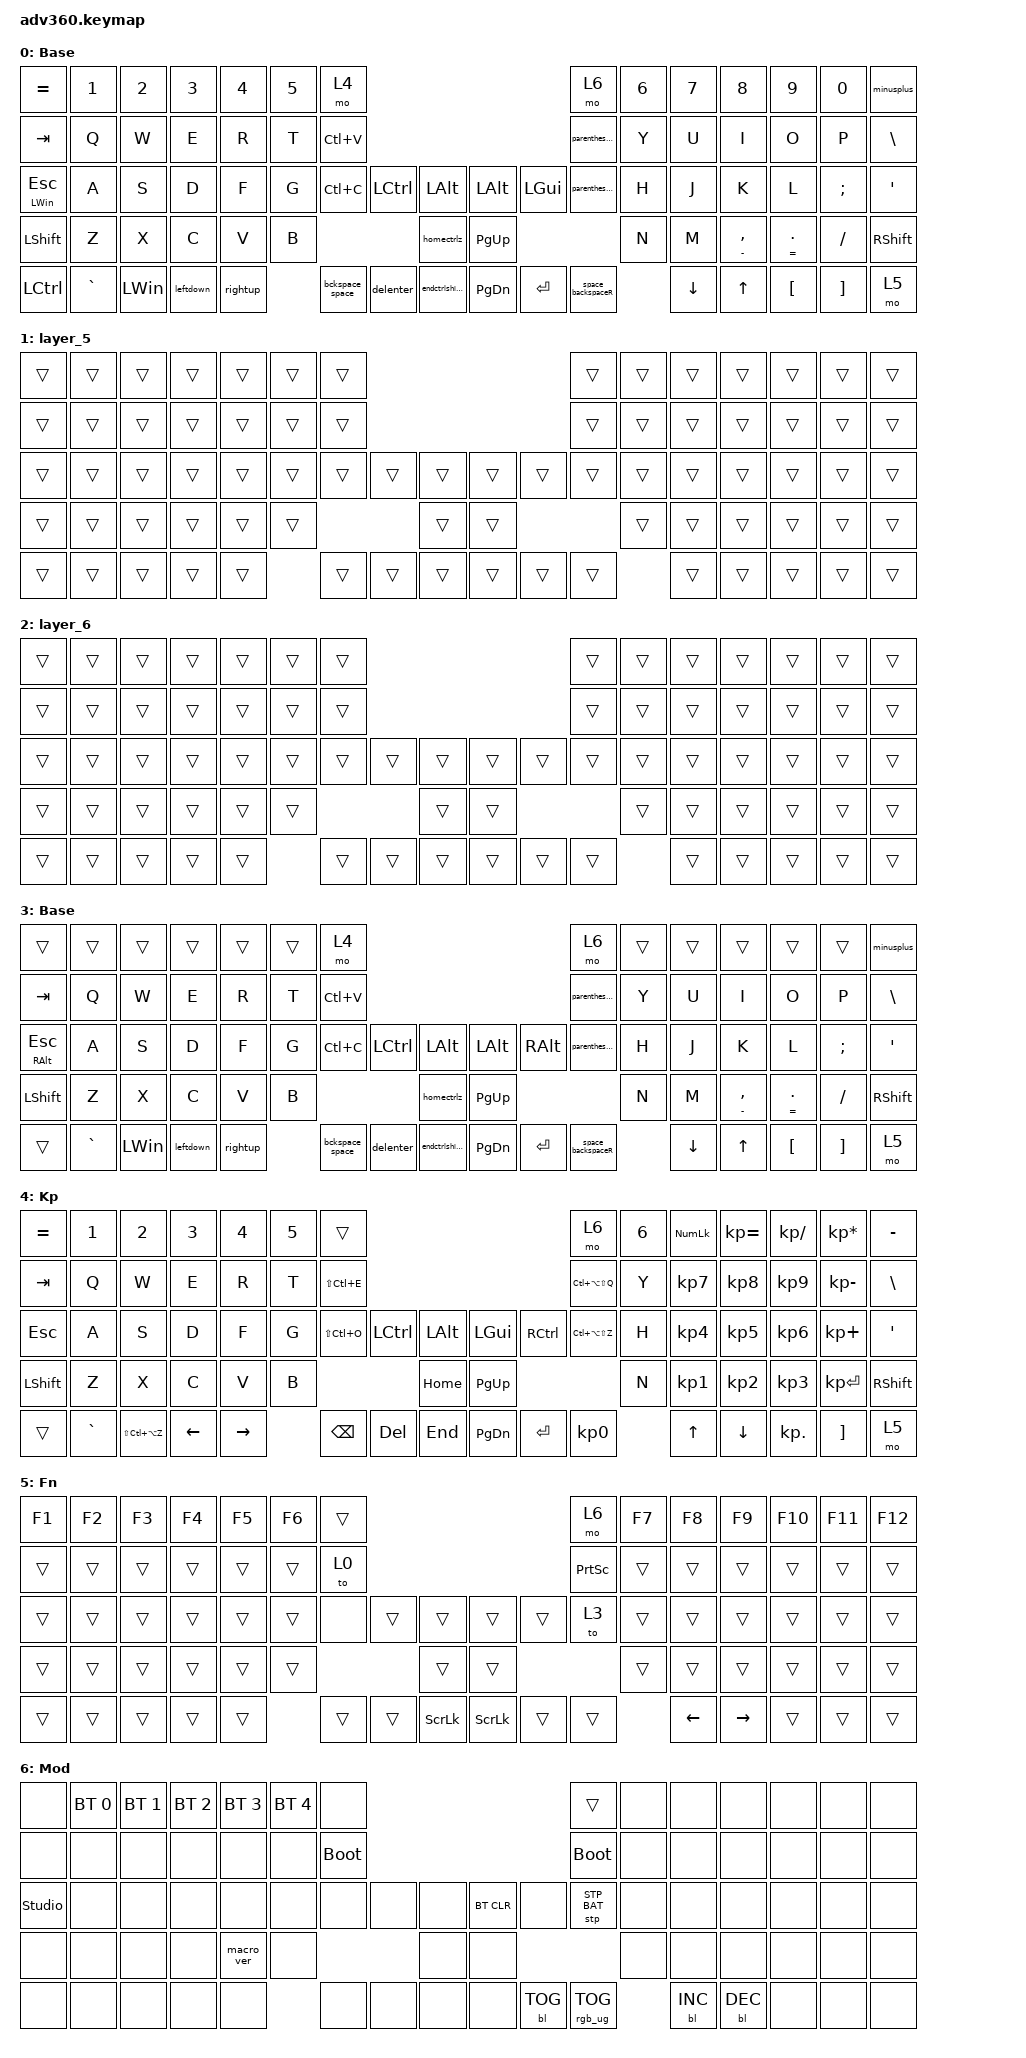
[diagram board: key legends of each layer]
#include <dt-bindings/zmk/stp.h>
#include <behaviors.dtsi>
#include <dt-bindings/zmk/backlight.h>
#include <dt-bindings/zmk/bt.h>
#include <dt-bindings/zmk/keys.h>
#include <dt-bindings/zmk/rgb.h>

/ {
    behaviors {
        #include "macros.dtsi"
      #include "version.dtsi"

        hm: homerow_mods {
            compatible = "zmk,behavior-hold-tap";
            label = "HOMEROW_MODS";
            #binding-cells = <2>;
            tapping-term-ms = <200>;
            quick_tap_ms = <175>;
            flavor = "tap-preferred";
            bindings = <&kp>, <&kp>;
        };

        shift_del: shift_del {
            compatible = "zmk,behavior-mod-morph";
            label = "SHIFT_DEL";
            bindings = <&kp BACKSPACE>, <&kp DEL>;

            #binding-cells = <0>;
            mods = <(MOD_LSFT)>;
        };

        space_backspace: space_backspace {
            compatible = "zmk,behavior-mod-morph";
            label = "SPACE_BACKSPACE";
            bindings = <&kp SPACE>, <&kp BACKSPACE>;

            #binding-cells = <0>;
            mods = <(MOD_LSFT)>;
        };

        space_backspaceR: space_backspaceR {
            compatible = "zmk,behavior-mod-morph";
            label = "SPACE_BACKSPACER";
            bindings = <&kp SPACE>, <&kp BACKSPACE>;

            #binding-cells = <0>;
            mods = <(MOD_RSFT)>;
        };

        copyshift: copyshift {
            compatible = "zmk,behavior-mod-morph";
            label = "COPYSHIFT";
            bindings = <&kp LC(C)>, <&kp LC(LS(C))>;

            #binding-cells = <0>;
            mods = <(MOD_LCTL)>;
            keep-mods = <(MOD_LCTL)>;
        };

        pasteshift: pasteshift {
            compatible = "zmk,behavior-mod-morph";
            label = "PASTESHIFT";
            bindings = <&kp LC(V)>, <&kp LC(LS(V))>;

            #binding-cells = <0>;
            mods = <(MOD_LCTL)>;
            keep-mods = <(MOD_LCTL)>;
        };

        endctrlshiftz: endctrlshiftz {
            compatible = "zmk,behavior-tap-dance";
            label = "ENDCTRLSHIFTZ";
            #binding-cells = <0>;
            bindings = <&kp END>, <&kp LC(LS(Z))>;
        };

        homectrlz: homectrlz {
            compatible = "zmk,behavior-tap-dance";
            label = "HOMECTRLZ";
            #binding-cells = <0>;
            bindings = <&kp HOME>, <&kp LC(Z)>;
        };

        leftctrlz: leftctrlz {
            compatible = "zmk,behavior-tap-dance";
            label = "LEFTCTRLZ";
            #binding-cells = <0>;
            bindings = <&kp LEFT_ARROW>, <&kp LC(Z)>;
        };

        rightctrlshiftz: rightctrlshiftz {
            compatible = "zmk,behavior-tap-dance";
            label = "RIGHTCTRLSHIFTZ";
            #binding-cells = <0>;
            bindings = <&kp RIGHT_ARROW>, <&kp LC(LS(Z))>;
        };

        semicolonEQ: semicolonEQ {
            compatible = "zmk,behavior-tap-dance";
            label = "SEMICOLONEQ";
            #binding-cells = <0>;
            bindings = <&kp SEMICOLON>, <&kp EQUAL>;

            tapping-term-ms = <75>;
        };

        semiholdtap: semiholdtap {
            compatible = "zmk,behavior-hold-tap";
            label = "SEMIHOLDTAP";
            bindings = <&kp>, <&semicolonEQ>;

            #binding-cells = <2>;
            tapping-term-ms = <175>;
            flavor = "tap-preferred";
        };

        holdtappreferred350: holdtappreferred350 {
            compatible = "zmk,behavior-hold-tap";
            label = "HOLDTAPPREFERRED350";
            bindings = <&kp>, <&kp>;

            #binding-cells = <2>;
            flavor = "tap-preferred";
            tapping-term-ms = <350>;
            require-prior-idle-ms = <155>;
        };

        semi_tap_dance: semi_tap_dance {
            compatible = "zmk,behavior-tap-dance";
            label = "SEMI_TAP_DANCE";
            #binding-cells = <0>;
            tapping-term-ms = <150>;
            bindings = <&kp_kp_hold_tap PLUS SEMI>, <&kp EQUAL>;
        };

        kp_kp_hold_tap: kp_kp_hold_tap {
            compatible = "zmk,behavior-hold-tap";
            label = "KP_KP_HOLD_TAP";
            bindings = <&kp>, <&kp>;

            #binding-cells = <2>;
            tapping-term-ms = <150>;
            flavor = "tap-preferred";
        };

        holdtap_homerow: holdtap_homerow {
            compatible = "zmk,behavior-hold-tap";
            label = "HOLDTAP_HOMEROW";
            bindings = <&kp>, <&kp>;

            #binding-cells = <2>;
            flavor = "tap-preferred";
            tapping-term-ms = <250>;
        };

        parenthesisopen: parenthesisopen {
            compatible = "zmk,behavior-mod-morph";
            label = "PARENTHESISOPEN";
            bindings = <&kp LEFT_PARENTHESIS>, <&kp LEFT_BRACKET>;

            #binding-cells = <0>;
            mods = <(MOD_LCTL)>;
        };

        leftdown: leftdown {
            compatible = "zmk,behavior-mod-morph";
            label = "LEFTDOWN";
            bindings = <&kp LEFT_ARROW>, <&kp DOWN_ARROW>;

            #binding-cells = <0>;
            mods = <(MOD_LCTL)>;
        };

        rightup: rightup {
            compatible = "zmk,behavior-mod-morph";
            label = "RIGHTUP";
            bindings = <&kp RIGHT_ARROW>, <&kp UP_ARROW>;

            #binding-cells = <0>;
            mods = <(MOD_LCTL)>;
        };

        bckspace_space: bckspace_space {
            compatible = "zmk,behavior-mod-morph";
            label = "BCKSPACE_SPACE";
            bindings = <&kp BACKSPACE>, <&kp SPACE>;

            #binding-cells = <0>;
            mods = <(MOD_LSFT)>;
        };

        parenthesisclosed: parenthesisclosed {
            compatible = "zmk,behavior-mod-morph";
            label = "PARENTHESISCLOSED";
            bindings = <&kp RIGHT_PARENTHESIS>, <&kp RIGHT_BRACKET>;

            #binding-cells = <0>;
            mods = <(MOD_LCTL)>;
        };

        tapholdpreferred: tapholdpreferred {
            compatible = "zmk,behavior-hold-tap";
            label = "TAPHOLDPREFERRED";
            bindings = <&kp>, <&kp>;

            #binding-cells = <2>;
            flavor = "hold-preferred";
            tapping-term-ms = <150>;
        };

        minusplus: minusplus {
            compatible = "zmk,behavior-mod-morph";
            label = "MINUSPLUS";
            bindings = <&kp MINUS>, <&kp EQUAL>;

            #binding-cells = <0>;
            mods = <(MOD_LCTL)>;
        };

        dansksemi: dansksemi {
            compatible = "zmk,behavior-mod-morph";
            label = "DANSKSEMI";
            bindings = <&kp SEMICOLON>, <&danskAE>;

            #binding-cells = <0>;
            mods = <(MOD_LCTL)>;
        };

        delenter: delenter {
            compatible = "zmk,behavior-mod-morph";
            label = "DELENTER";
            bindings = <&kp DEL>, <&kp ENTER>;

            #binding-cells = <0>;
            mods = <(MOD_LSFT)>;
        };

        danskctrlAE: danskctrlAE {
            compatible = "zmk,behavior-mod-morph";
            label = "DANSKCTRLAE";
            bindings = <&holdtappreferred350 LEFT_GUI SQT>, <&kp LEFT_BRACKET>;

            #binding-cells = <0>;
            mods = <(MOD_LCTL)>;
        };

        DanskctrlAElinux: DanskctrlAElinux {
            compatible = "zmk,behavior-mod-morph";
            label = "DANSKCTRLAELINUX";
            bindings = <&holdtappreferred350 RALT SQT>, <&kp LEFT_BRACKET>;

            #binding-cells = <0>;
            mods = <(MOD_LCTL)>;
        };

        ctrlf1: ctrlf1 {
            compatible = "zmk,behavior-mod-morph";
            label = "CTRLF1";
            bindings = <&kp NUMBER_1>, <&kp F1>;

            #binding-cells = <0>;
            mods = <(MOD_LCTL)>;
        };

        ctrlf2: ctrlf2 {
            compatible = "zmk,behavior-mod-morph";
            label = "CTRLF2";
            bindings = <&kp NUMBER_2>, <&kp F2>;

            #binding-cells = <0>;
            mods = <(MOD_LCTL)>;
        };

        ctrlf3: ctrlf3 {
            compatible = "zmk,behavior-mod-morph";
            label = "CTRLF3";
            bindings = <&kp NUMBER_3>, <&kp F3>;

            #binding-cells = <0>;
            mods = <(MOD_LCTL)>;
        };

        ctrlf4: ctrlf4 {
            compatible = "zmk,behavior-mod-morph";
            label = "CTRLF4";
            bindings = <&kp NUMBER_4>, <&kp F4>;

            #binding-cells = <0>;
            mods = <(MOD_LCTL)>;
        };

        ctrlf5: ctrlf5 {
            compatible = "zmk,behavior-mod-morph";
            label = "CTRLF5";
            bindings = <&kp NUMBER_5>, <&kp F5>;

            #binding-cells = <0>;
            mods = <(MOD_LCTL)>;
        };
    };

    macros {
        danskAE: danskAE {
            compatible = "zmk,behavior-macro";
            #binding-cells = <0>;
            bindings =
                <&macro_tap>,
                <&macro_wait_time 30>,
                <&macro_tap_time 30>,
                <&kp LC(LS(U)) &kp N0 &kp N0 &kp E &kp N6 &kp SPACE>;

            label = "DANSKAE";
        };
    };

    keymap {
        compatible = "zmk,keymap";

        default_layer {
            display-name = "Base";
            bindings = <
&kp EQUAL                          &kp NUMBER_1  &kp NUMBER_2  &kp NUMBER_3  &kp NUMBER_4  &kp NUMBER_5  &mo 4                                                                       &mo 6               &kp N6  &kp N7          &kp N8                        &kp NUMBER_9                   &kp N0         &minusplus
&kp TAB                            &kp Q         &kp W         &kp E         &kp R         &kp T         &kp LC(V)                                                                   &parenthesisopen    &kp Y   &kp U           &kp I                         &kp O                          &kp P          &kp BSLH
&tapholdpreferred LEFT_WIN ESCAPE  &kp A         &kp S         &kp D         &kp F         &kp G         &kp LC(C)        &kp LCTRL  &kp LALT            &kp LEFT_ALT  &kp LEFT_GUI  &parenthesisclosed  &kp H   &kp J           &kp K                         &kp L                          &kp SEMICOLON  &kp SQT
&kp LSHFT                          &kp Z         &kp X         &kp C         &kp V         &kp B                                     &homectrlz          &kp PG_UP                                       &kp N   &kp M           &holdtap_homerow MINUS COMMA  &holdtap_homerow EQUAL PERIOD  &kp FSLH       &kp RSHFT
&kp LCTRL                          &kp GRAVE     &kp LEFT_WIN  &leftdown     &rightup                    &bckspace_space  &delenter  &endctrlshiftz      &kp PG_DN     &kp ENTER     &space_backspaceR           &kp DOWN_ARROW  &kp UP_ARROW                  &kp LBKT                       &kp RBKT       &mo 5
            >;
        };

        layer_5 {
            bindings = <
&trans  &trans  &trans  &trans  &trans  &trans  &trans                                      &trans  &trans  &trans  &trans  &trans  &trans  &trans
&trans  &trans  &trans  &trans  &trans  &trans  &trans                                      &trans  &trans  &trans  &trans  &trans  &trans  &trans
&trans  &trans  &trans  &trans  &trans  &trans  &trans  &trans  &trans      &trans  &trans  &trans  &trans  &trans  &trans  &trans  &trans  &trans
&trans  &trans  &trans  &trans  &trans  &trans                  &trans      &trans                  &trans  &trans  &trans  &trans  &trans  &trans
&trans  &trans  &trans  &trans  &trans          &trans  &trans  &trans      &trans  &trans  &trans          &trans  &trans  &trans  &trans  &trans
            >;
        };

        layer_6 {
            bindings = <
&trans  &trans  &trans  &trans  &trans  &trans  &trans                                      &trans  &trans  &trans  &trans  &trans  &trans  &trans
&trans  &trans  &trans  &trans  &trans  &trans  &trans                                      &trans  &trans  &trans  &trans  &trans  &trans  &trans
&trans  &trans  &trans  &trans  &trans  &trans  &trans  &trans  &trans      &trans  &trans  &trans  &trans  &trans  &trans  &trans  &trans  &trans
&trans  &trans  &trans  &trans  &trans  &trans                  &trans      &trans                  &trans  &trans  &trans  &trans  &trans  &trans
&trans  &trans  &trans  &trans  &trans          &trans  &trans  &trans      &trans  &trans  &trans          &trans  &trans  &trans  &trans  &trans
            >;
        };

        Linux {
            display-name = "Base";
            bindings = <
&trans                              &trans     &trans        &trans     &trans    &trans  &mo 4                                                                        &mo 6               &trans  &trans          &trans                        &trans                         &trans         &minusplus
&kp TAB                             &kp Q      &kp W         &kp E      &kp R     &kp T   &kp LC(V)                                                                    &parenthesisopen    &kp Y   &kp U           &kp I                         &kp O                          &kp P          &kp BSLH
&tapholdpreferred RIGHT_ALT ESCAPE  &kp A      &kp S         &kp D      &kp F     &kp G   &kp LC(C)        &kp LCTRL  &kp LALT            &kp LEFT_ALT  &kp RIGHT_ALT  &parenthesisclosed  &kp H   &kp J           &kp K                         &kp L                          &kp SEMICOLON  &kp SQT
&kp LSHFT                           &kp Z      &kp X         &kp C      &kp V     &kp B                               &homectrlz          &kp PG_UP                                        &kp N   &kp M           &holdtap_homerow MINUS COMMA  &holdtap_homerow EQUAL PERIOD  &kp FSLH       &kp RSHFT
&trans                              &kp GRAVE  &kp LEFT_WIN  &leftdown  &rightup          &bckspace_space  &delenter  &endctrlshiftz      &kp PG_DN     &kp ENTER      &space_backspaceR           &kp DOWN_ARROW  &kp UP_ARROW                  &kp LBKT                       &kp RBKT       &mo 5
            >;
        };

        keypad {
            display-name = "Kp";
            bindings = <
&kp EQUAL  &kp N1     &kp N2             &kp N3    &kp N4     &kp N5  &trans                                                        &mo 6              &kp N6  &kp KP_NUM  &kp KP_EQUAL  &kp KP_DIVIDE  &kp KP_MULTIPLY  &kp MINUS
&kp TAB    &kp Q      &kp W              &kp E     &kp R      &kp T   &kp LS(LC(E))                                                 &kp LC(LA(LS(Q)))  &kp Y   &kp KP_N7   &kp KP_N8     &kp KP_N9      &kp KP_MINUS     &kp BSLH
&kp ESC    &kp A      &kp S              &kp D     &kp F      &kp G   &kp LS(LC(O))  &kp LCTRL  &kp LALT      &kp LGUI   &kp RCTRL  &kp LC(LA(LS(Z)))  &kp H   &kp KP_N4   &kp KP_N5     &kp KP_N6      &kp KP_PLUS      &kp SQT
&kp LSHFT  &kp Z      &kp X              &kp C     &kp V      &kp B                             &kp HOME      &kp PG_UP                                &kp N   &kp KP_N1   &kp KP_N2     &kp KP_N3      &kp KP_ENTER     &kp RSHFT
&trans     &kp GRAVE  &kp LS(LC(LA(Z)))  &kp LEFT  &kp RIGHT          &kp BSPC       &kp DEL    &kp END       &kp PG_DN  &kp ENTER  &kp KP_N0                  &kp UP      &kp DOWN      &kp KP_DOT     &kp RBKT         &mo 5
            >;
        };

        fn {
            display-name = "Fn";
            bindings = <
&kp F1  &kp F2  &kp F3  &kp F4  &kp F5  &kp F6  &trans                                                      &mo 6            &kp F7  &kp F8          &kp F9           &kp F10  &kp F11  &kp F12
&trans  &trans  &trans  &trans  &trans  &trans  &to 0                                                       &kp PRINTSCREEN  &trans  &trans          &trans           &trans   &trans   &trans
&trans  &trans  &trans  &trans  &trans  &trans  &none   &trans  &trans              &trans          &trans  &to 3            &trans  &trans          &trans           &trans   &trans   &trans
&trans  &trans  &trans  &trans  &trans  &trans                  &trans              &trans                                   &trans  &trans          &trans           &trans   &trans   &trans
&trans  &trans  &trans  &trans  &trans          &trans  &trans  &kp SCROLLLOCK      &kp SCROLLLOCK  &trans  &trans                   &kp LEFT_ARROW  &kp RIGHT_ARROW  &trans   &trans   &trans
            >;
        };

        mod {
            display-name = "Mod";
            bindings = <
&none           &bt BT_SEL 0  &bt BT_SEL 1  &bt BT_SEL 2  &bt BT_SEL 3  &bt BT_SEL 4  &none                                                  &trans           &none  &none       &none       &none  &none  &none
&none           &none         &none         &none         &none         &none         &bootloader                                            &bootloader      &none  &none       &none       &none  &none  &none
&studio_unlock  &none         &none         &none         &none         &none         &none        &none  &none      &bt BT_CLR  &none       &stp STP_BAT     &none  &none       &none       &none  &none  &none
&none           &none         &none         &none         &macro_ver    &none                             &none      &none                                    &none  &none       &none       &none  &none  &none
&none           &none         &none         &none         &none                       &none        &none  &none      &none       &bl BL_TOG  &rgb_ug RGB_TOG         &bl BL_INC  &bl BL_DEC  &none  &none  &none
            >;
        };
    };
};
